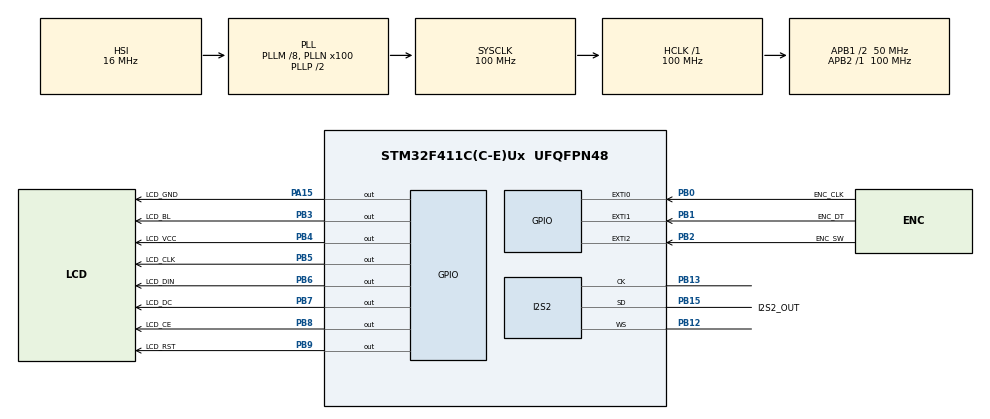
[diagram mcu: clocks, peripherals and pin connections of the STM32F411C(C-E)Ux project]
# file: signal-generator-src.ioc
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Dma.Request0=SPI2_TX
Dma.SPI2_TX.0.Direction=DMA_MEMORY_TO_PERIPH
Dma.SPI2_TX.0.FIFOMode=DMA_FIFOMODE_DISABLE
Dma.SPI2_TX.0.Instance=DMA1_Stream4
Dma.SPI2_TX.0.MemDataAlignment=DMA_MDATAALIGN_HALFWORD
Dma.SPI2_TX.0.MemInc=DMA_MINC_ENABLE
Dma.SPI2_TX.0.Mode=DMA_CIRCULAR
Dma.SPI2_TX.0.PeriphDataAlignment=DMA_PDATAALIGN_HALFWORD
Dma.SPI2_TX.0.PeriphInc=DMA_PINC_DISABLE
Dma.SPI2_TX.0.Priority=DMA_PRIORITY_LOW
I2S2.AudioFreq=I2S_AUDIOFREQ_44K
I2S2.DataFormat=I2S_DATAFORMAT_16B
I2S2.ErrorAudioFreq=0.03 %
I2S2.FullDuplexMode=I2S_FULLDUPLEXMODE_DISABLE
I2S2.Instance=SPI$Index
I2S2.RealAudioFreq=44.014 KHz
I2S2.VirtualMode=I2S_MODE_MASTER
Mcu.Family=STM32F4
Mcu.Name=STM32F411C(C-E)Ux
Mcu.Package=UFQFPN48
NVIC.DMA1_Stream4_IRQn=true\:1\:0\:true\:false\:true\:false\:true
NVIC.EXTI0_IRQn=true\:0\:0\:true\:false\:true\:true\:true
NVIC.EXTI1_IRQn=true\:0\:0\:true\:false\:true\:true\:true
NVIC.EXTI2_IRQn=true\:0\:0\:true\:false\:true\:true\:true
NVIC.PriorityGroup=NVIC_PRIORITYGROUP_4
PA15.GPIO_Label=LCD_GND
PA15.Signal=GPIO_Output
PB0.GPIO_Label=ENC_CLK
PB0.GPIO_ModeDefaultEXTI=GPIO_MODE_IT_RISING_FALLING
PB0.GPIO_PuPd=GPIO_PULLUP
PB0.Signal=GPXTI0
PB1.GPIO_Label=ENC_DT
PB1.GPIO_ModeDefaultEXTI=GPIO_MODE_IT_RISING_FALLING
PB1.GPIO_PuPd=GPIO_PULLUP
PB1.Signal=GPXTI1
PB12.Mode=Half_Duplex_Master
PB12.Signal=I2S2_WS
PB13.Mode=Half_Duplex_Master
PB13.Signal=I2S2_CK
PB15.GPIO_Label=I2S2_OUT
PB15.Mode=Half_Duplex_Master
PB15.Signal=I2S2_SD
PB2.GPIO_Label=ENC_SW
PB2.GPIO_ModeDefaultEXTI=GPIO_MODE_IT_FALLING
PB2.GPIO_PuPd=GPIO_PULLUP
PB2.Signal=GPXTI2
PB3.GPIO_Label=LCD_BL
PB3.Signal=GPIO_Output
PB4.GPIO_Label=LCD_VCC
PB4.Signal=GPIO_Output
PB5.GPIO_Label=LCD_CLK
PB5.Signal=GPIO_Output
PB6.GPIO_Label=LCD_DIN
PB6.Signal=GPIO_Output
PB7.GPIO_Label=LCD_DC
PB7.Signal=GPIO_Output
PB8.GPIO_Label=LCD_CE
PB8.Signal=GPIO_Output
PB9.GPIO_Label=LCD_RST
PB9.Signal=GPIO_Output
ProjectManager.HeapSize=0x200
ProjectManager.StackSize=0x400
ProjectManager.TargetToolchain=STM32CubeIDE
RCC.48MHZClocksFreq_Value=50000000
RCC.AHBFreq_Value=100000000
RCC.APB1CLKDivider=RCC_HCLK_DIV2
RCC.APB1Freq_Value=50000000
RCC.APB1TimFreq_Value=100000000
RCC.APB2Freq_Value=100000000
RCC.APB2TimFreq_Value=100000000
RCC.CortexFreq_Value=100000000
RCC.HCLKFreq_Value=100000000
RCC.HSE_VALUE=25000000
RCC.HSI_VALUE=16000000
RCC.LSE_VALUE=32768
RCC.PLLI2SN=200
RCC.PLLM=8
RCC.PLLN=100
RCC.SYSCLKFreq_VALUE=100000000
RCC.SYSCLKSource=RCC_SYSCLKSOURCE_PLLCLK
RCC.VCOOutputFreq_Value=200000000
board=custom

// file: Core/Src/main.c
/* USER CODE BEGIN Header */
/**
  ******************************************************************************
  * @file           : main.c
  * @brief          : Main program body
  ******************************************************************************
  * @attention
  *
  * <h2><center>&copy; Copyright (c) 2021 STMicroelectronics.
  * All rights reserved.</center></h2>
  *
  * This software component is licensed by ST under BSD 3-Clause license,
  * the "License"; You may not use this file except in compliance with the
  * License. You may obtain a copy of the License at:
  *                        opensource.org/licenses/BSD-3-Clause
  *
  ******************************************************************************
  */
/* USER CODE END Header */
#include "main.h"

/* USER CODE BEGIN Includes */
#include <math.h>
#include "nokia5110_LCD.h"
/* USER CODE END Includes */

I2S_HandleTypeDef hi2s2;
DMA_HandleTypeDef hdma_spi2_tx;

void SystemClock_Config(void);
static void MX_GPIO_Init(void);
static void MX_DMA_Init(void);
static void MX_I2S2_Init(void);
/* USER CODE BEGIN PFP */

void select_freq();
void select_amp();
void select_wave();
void select_harm();
double generate_wave_cycle();

/* USER CODE END PFP */

/* USER CODE BEGIN 0 */
#define PI 3.14159265358979323846
#define TAU (2.0 * PI)
#define AMPLITUDE_FACTOR 28500
#define DAC_FREQ 44000

#define TXBUFF_LEN 1024
uint16_t txbuff[TXBUFF_LEN];

int frequency = 1000;
int amplitude = 100;
int harmonics = 50;

#define WAVEFORM_SIN 0
#define WAVEFORM_SQUARE 1
#define WAVEFORM_TRIANGLE 2
#define WAVEFORM_SAW 3

int waveform = WAVEFORM_SIN;

typedef struct {
	void (*init)(void);
	void (*cw_rotation)(void);
	void (*ccw_rotation)(void);
	void (*push)(void);
	int selected;
} ui_state_t;

#define UI_SELECTED_FREQ 0
#define UI_SELECTED_AMP 1
#define UI_SELECTED_WAVE 2
#define UI_SELECTED_HARM 3

ui_state_t ui_global_state;

void update_ui()
{
	char freq_txt[20];
	char amp_txt[20];
	char wave_txt[20];
	char harm_txt[20];

	LCD_clrScr();

	//freq text
	if(frequency < 1000)
	{
		sprintf(freq_txt, " Freq: %dHz", frequency);
	}
	else
	{
		sprintf(freq_txt, " Freq: %dkHz", frequency/1000);
	}

	LCD_print(freq_txt, 0, 0);

	//Amp text
	sprintf(amp_txt, " Amp: %d%%", amplitude);
	LCD_print(amp_txt, 0, 1);

	//Wave text
	switch(waveform)
	{
	case WAVEFORM_SIN:
		sprintf(wave_txt, " Wave: SIN");
		break;
	case WAVEFORM_SQUARE:
		sprintf(wave_txt, " Wave: SQR");
		break;
	case WAVEFORM_TRIANGLE:
		sprintf(wave_txt, " Wave: TRI");
		break;
	case WAVEFORM_SAW:
		sprintf(wave_txt, " Wave: SAW");
		break;
	}

	LCD_print(wave_txt, 0, 2);

	//Harm text
	sprintf(harm_txt, " Harm: %d", harmonics);
	LCD_print(harm_txt, 0, 3);

	//Selection
	LCD_print("*", 0, ui_global_state.selected);
}

void freq_selected_init()
{
	update_ui();
}

void freq_selected_cw()
{
	if(frequency < 20000)
	{
		if(frequency < 1000)
		{
			frequency = (frequency/10)*10;
			frequency += 10;
		}
		else if(frequency >= 1000)
		{
			frequency = (frequency/1000)*1000;
			frequency += 1000;
		}
	}

	update_ui();
	generate_wave_cycle();
}

void freq_selected_ccw()
{
	if(frequency > 20)
	{
		if(frequency <= 1000)
		{
			frequency = (frequency/10)*10;
			frequency -= 10;
		}
		else if(frequency > 1000)
		{
			frequency = (frequency/1000)*1000;
			frequency -= 1000;
		}
	}

	update_ui();
	generate_wave_cycle();
}

void freq_selected_push()
{
	select_amp();
	ui_global_state.init();
}

void select_freq()
{
	ui_global_state.init = freq_selected_init;
	ui_global_state.cw_rotation = freq_selected_cw;
	ui_global_state.ccw_rotation = freq_selected_ccw;
	ui_global_state.push = freq_selected_push;
	ui_global_state.selected = UI_SELECTED_FREQ;
}

void amp_selected_init()
{
	update_ui();
}

void amp_selected_cw()
{
	if(amplitude < 100) amplitude += 1;
	update_ui();
	generate_wave_cycle();
}

void amp_selected_ccw()
{
	if(amplitude > 0) amplitude -= 1;
	update_ui();
	generate_wave_cycle();
}

void amp_selected_push()
{
	select_wave();
	ui_global_state.init();
}

void select_amp()
{
	ui_global_state.init = amp_selected_init;
	ui_global_state.cw_rotation = amp_selected_cw;
	ui_global_state.ccw_rotation = amp_selected_ccw;
	ui_global_state.push = amp_selected_push;
	ui_global_state.selected = UI_SELECTED_AMP;
}

void wave_selected_init()
{
	update_ui();
}

void wave_selected_cw()
{
	switch(waveform)
	{
	case WAVEFORM_SIN:
		waveform = WAVEFORM_SQUARE;
		break;
	case WAVEFORM_SQUARE:
		waveform = WAVEFORM_TRIANGLE;
		break;
	case WAVEFORM_TRIANGLE:
		waveform = WAVEFORM_SAW;
		break;
	case WAVEFORM_SAW:
		waveform = WAVEFORM_SIN;
		break;
	}
	update_ui();
	generate_wave_cycle();
}

void wave_selected_ccw()
{
	switch(waveform)
	{
		case WAVEFORM_SIN:
			waveform = WAVEFORM_SAW;
			break;
		case WAVEFORM_SQUARE:
			waveform = WAVEFORM_SIN;
			break;
		case WAVEFORM_TRIANGLE:
			waveform = WAVEFORM_SQUARE;
			break;
		case WAVEFORM_SAW:
			waveform = WAVEFORM_TRIANGLE;
			break;
	}
	update_ui();
	generate_wave_cycle();
}

void wave_selected_push()
{
	select_harm();
	ui_global_state.init();
}

void select_wave()
{
	ui_global_state.init = wave_selected_init;
	ui_global_state.cw_rotation = wave_selected_cw;
	ui_global_state.ccw_rotation = wave_selected_ccw;
	ui_global_state.push = wave_selected_push;
	ui_global_state.selected = UI_SELECTED_WAVE;
}

void harm_selected_init()
{
	update_ui();
}

void harm_selected_cw()
{
	if(harmonics < 100) harmonics += 1;
	update_ui();
	generate_wave_cycle();
}

void harm_selected_ccw()
{
	if(harmonics > 1) harmonics -= 1;
	update_ui();
	generate_wave_cycle();
}

void harm_selected_push()
{
	select_freq();
	ui_global_state.init();
}

void select_harm()
{
	ui_global_state.init = harm_selected_init;
	ui_global_state.cw_rotation = harm_selected_cw;
	ui_global_state.ccw_rotation = harm_selected_ccw;
	ui_global_state.push = harm_selected_push;
	ui_global_state.selected = UI_SELECTED_HARM;
}
/* USER CODE END 0 */

int main(void)
{

  /* MCU Configuration--------------------------------------------------------*/

  /* Reset of all peripherals, Initializes the Flash interface and the Systick. */
  HAL_Init();

  /* Configure the system clock */
  SystemClock_Config();

  /* Initialize all configured peripherals */
  MX_GPIO_Init();
  MX_DMA_Init();
  MX_I2S2_Init();
  /* USER CODE BEGIN 2 */

  //CONFIGURE LCD
  HAL_GPIO_WritePin(LCD_VCC_GPIO_Port, LCD_VCC_Pin, GPIO_PIN_SET);
  HAL_GPIO_WritePin(LCD_BL_GPIO_Port, LCD_BL_Pin, GPIO_PIN_SET);
  HAL_GPIO_WritePin(LCD_GND_GPIO_Port, LCD_GND_Pin, GPIO_PIN_RESET);

  LCD_setCE(LCD_CE_GPIO_Port, LCD_CE_Pin);
  LCD_setCLK(LCD_CLK_GPIO_Port, LCD_CLK_Pin);
  LCD_setDC(LCD_DC_GPIO_Port, LCD_DC_Pin);
  LCD_setDIN(LCD_DIN_GPIO_Port, LCD_DIN_Pin);
  LCD_setRST(LCD_RST_GPIO_Port, LCD_RST_Pin);
  LCD_init();

  LCD_print("SIGNAL", 0, 0);
  LCD_print("GENERATOR", 0, 1);
  LCD_print("By Filipe", 0, 3);
  LCD_print("Chagas", 0, 4);
  LCD_print("SEP/2021", 0, 5);
  HAL_Delay(3000);
  select_freq();
  ui_global_state.init();
  generate_wave_cycle();
  HAL_I2S_Transmit_DMA(&hi2s2, txbuff, 1024);
  /* USER CODE END 2 */

  /* Infinite loop */
  while (1)
  {

  }
}

void SystemClock_Config(void)
{
  RCC_OscInitTypeDef RCC_OscInitStruct = {0};
  RCC_ClkInitTypeDef RCC_ClkInitStruct = {0};
  RCC_PeriphCLKInitTypeDef PeriphClkInitStruct = {0};

  /** Configure the main internal regulator output voltage
  */
  __HAL_RCC_PWR_CLK_ENABLE();
  __HAL_PWR_VOLTAGESCALING_CONFIG(PWR_REGULATOR_VOLTAGE_SCALE1);
  /** Initializes the RCC Oscillators according to the specified parameters
  * in the RCC_OscInitTypeDef structure.
  */
  RCC_OscInitStruct.OscillatorType = RCC_OSCILLATORTYPE_HSI;
  RCC_OscInitStruct.HSIState = RCC_HSI_ON;
  RCC_OscInitStruct.HSICalibrationValue = RCC_HSICALIBRATION_DEFAULT;
  RCC_OscInitStruct.PLL.PLLState = RCC_PLL_ON;
  RCC_OscInitStruct.PLL.PLLSource = RCC_PLLSOURCE_HSI;
  RCC_OscInitStruct.PLL.PLLM = 8;
  RCC_OscInitStruct.PLL.PLLN = 100;
  RCC_OscInitStruct.PLL.PLLP = RCC_PLLP_DIV2;
  RCC_OscInitStruct.PLL.PLLQ = 4;
  if (HAL_RCC_OscConfig(&RCC_OscInitStruct) != HAL_OK)
  {
    Error_Handler();
  }
  /** Initializes the CPU, AHB and APB buses clocks
  */
  RCC_ClkInitStruct.ClockType = RCC_CLOCKTYPE_HCLK|RCC_CLOCKTYPE_SYSCLK
                              |RCC_CLOCKTYPE_PCLK1|RCC_CLOCKTYPE_PCLK2;
  RCC_ClkInitStruct.SYSCLKSource = RCC_SYSCLKSOURCE_PLLCLK;
  RCC_ClkInitStruct.AHBCLKDivider = RCC_SYSCLK_DIV1;
  RCC_ClkInitStruct.APB1CLKDivider = RCC_HCLK_DIV2;
  RCC_ClkInitStruct.APB2CLKDivider = RCC_HCLK_DIV1;

  if (HAL_RCC_ClockConfig(&RCC_ClkInitStruct, FLASH_LATENCY_3) != HAL_OK)
  {
    Error_Handler();
  }
  PeriphClkInitStruct.PeriphClockSelection = RCC_PERIPHCLK_I2S;
  PeriphClkInitStruct.PLLI2S.PLLI2SN = 200;
  PeriphClkInitStruct.PLLI2S.PLLI2SM = 16;
  PeriphClkInitStruct.PLLI2S.PLLI2SR = 2;
  if (HAL_RCCEx_PeriphCLKConfig(&PeriphClkInitStruct) != HAL_OK)
  {
    Error_Handler();
  }
}

static void MX_I2S2_Init(void)
{

  hi2s2.Instance = SPI2;
  hi2s2.Init.Mode = I2S_MODE_MASTER_TX;
  hi2s2.Init.Standard = I2S_STANDARD_PHILIPS;
  hi2s2.Init.DataFormat = I2S_DATAFORMAT_16B;
  hi2s2.Init.MCLKOutput = I2S_MCLKOUTPUT_DISABLE;
  hi2s2.Init.AudioFreq = I2S_AUDIOFREQ_44K;
  hi2s2.Init.CPOL = I2S_CPOL_LOW;
  hi2s2.Init.ClockSource = I2S_CLOCK_PLL;
  hi2s2.Init.FullDuplexMode = I2S_FULLDUPLEXMODE_DISABLE;
  if (HAL_I2S_Init(&hi2s2) != HAL_OK)
  {
    Error_Handler();
  }

}

static void MX_DMA_Init(void)
{

  /* DMA controller clock enable */
  __HAL_RCC_DMA1_CLK_ENABLE();

  /* DMA interrupt init */
  /* DMA1_Stream4_IRQn interrupt configuration */
  HAL_NVIC_SetPriority(DMA1_Stream4_IRQn, 1, 0);
  HAL_NVIC_EnableIRQ(DMA1_Stream4_IRQn);

}

static void MX_GPIO_Init(void)
{
  GPIO_InitTypeDef GPIO_InitStruct = {0};

  /* GPIO Ports Clock Enable */
  __HAL_RCC_GPIOB_CLK_ENABLE();
  __HAL_RCC_GPIOA_CLK_ENABLE();

  /*Configure GPIO pin Output Level */
  HAL_GPIO_WritePin(LCD_GND_GPIO_Port, LCD_GND_Pin, GPIO_PIN_RESET);

  /*Configure GPIO pin Output Level */
  HAL_GPIO_WritePin(GPIOB, LCD_BL_Pin|LCD_VCC_Pin|LCD_CLK_Pin|LCD_DIN_Pin
                          |LCD_DC_Pin|LCD_CE_Pin|LCD_RST_Pin, GPIO_PIN_RESET);

  /*Configure GPIO pins : ENC_CLK_Pin ENC_DT_Pin */
  GPIO_InitStruct.Pin = ENC_CLK_Pin|ENC_DT_Pin;
  GPIO_InitStruct.Mode = GPIO_MODE_IT_RISING_FALLING;
  GPIO_InitStruct.Pull = GPIO_PULLUP;
  HAL_GPIO_Init(GPIOB, &GPIO_InitStruct);

  /*Configure GPIO pin : ENC_SW_Pin */
  GPIO_InitStruct.Pin = ENC_SW_Pin;
  GPIO_InitStruct.Mode = GPIO_MODE_IT_FALLING;
  GPIO_InitStruct.Pull = GPIO_PULLUP;
  HAL_GPIO_Init(ENC_SW_GPIO_Port, &GPIO_InitStruct);

  /*Configure GPIO pin : LCD_GND_Pin */
  GPIO_InitStruct.Pin = LCD_GND_Pin;
  GPIO_InitStruct.Mode = GPIO_MODE_OUTPUT_PP;
  GPIO_InitStruct.Pull = GPIO_NOPULL;
  GPIO_InitStruct.Speed = GPIO_SPEED_FREQ_LOW;
  HAL_GPIO_Init(LCD_GND_GPIO_Port, &GPIO_InitStruct);

  /*Configure GPIO pins : LCD_BL_Pin LCD_VCC_Pin LCD_CLK_Pin LCD_DIN_Pin
                           LCD_DC_Pin LCD_CE_Pin LCD_RST_Pin */
  GPIO_InitStruct.Pin = LCD_BL_Pin|LCD_VCC_Pin|LCD_CLK_Pin|LCD_DIN_Pin
                          |LCD_DC_Pin|LCD_CE_Pin|LCD_RST_Pin;
  GPIO_InitStruct.Mode = GPIO_MODE_OUTPUT_PP;
  GPIO_InitStruct.Pull = GPIO_NOPULL;
  GPIO_InitStruct.Speed = GPIO_SPEED_FREQ_LOW;
  HAL_GPIO_Init(GPIOB, &GPIO_InitStruct);

  /* EXTI interrupt init*/
  HAL_NVIC_SetPriority(EXTI0_IRQn, 0, 0);
  HAL_NVIC_EnableIRQ(EXTI0_IRQn);

  HAL_NVIC_SetPriority(EXTI1_IRQn, 0, 0);
  HAL_NVIC_EnableIRQ(EXTI1_IRQn);

  HAL_NVIC_SetPriority(EXTI2_IRQn, 0, 0);
  HAL_NVIC_EnableIRQ(EXTI2_IRQn);

}

/* USER CODE BEGIN 4 */
int dt_state_array[2];
int clk_state_array[2];

void encoder_callback()
{
	dt_state_array[1] = !HAL_GPIO_ReadPin(ENC_DT_GPIO_Port, ENC_DT_Pin);
	clk_state_array[1] = !HAL_GPIO_ReadPin(ENC_CLK_GPIO_Port, ENC_CLK_Pin);

	/*   "For clockwise motion you can only perform the following actions:
		  (11 > 10), (10 > 00), (00 > 01) and (01 >11)
		  Similarly only the following encoder output transitions are valid for Anti-Clockwise rotation:
	      (01 > 00), (00 > 10), (10 > 11), and (11 > 01)"
	      Source: https://www.best-microcontroller-projects.com/rotary-encoder.html
	 */

	if((clk_state_array[0] == 1 && dt_state_array[0] == 1 && clk_state_array[1] == 1 && dt_state_array[1] == 0) ||
		//(clk_state_array[0] == 1 && dt_state_array[0] == 0 && clk_state_array[1] == 0 && dt_state_array[1] == 0) ||
		//(clk_state_array[0] == 0 && dt_state_array[0] == 0 && clk_state_array[1] == 1 && dt_state_array[1] == 0) ||
		//(clk_state_array[0] == 0 && dt_state_array[0] == 1 && clk_state_array[1] == 1 && dt_state_array[1] == 1) ||
		0)
	{
		ui_global_state.ccw_rotation();
	}

	if((clk_state_array[0] == 0 && dt_state_array[0] == 1 && clk_state_array[1] == 0 && dt_state_array[1] == 0) ||
		//(clk_state_array[0] == 0 && dt_state_array[0] == 0 && clk_state_array[1] == 1 && dt_state_array[1] == 0) ||
		//(clk_state_array[0] == 1 && dt_state_array[0] == 0 && clk_state_array[1] == 1 && dt_state_array[1] == 1) ||
		//(clk_state_array[0] == 1 && dt_state_array[0] == 1 && clk_state_array[1] == 0 && dt_state_array[1] == 1) ||
		0)
	{
		ui_global_state.cw_rotation();
	}

	dt_state_array[0] = dt_state_array[1];
	clk_state_array[0] = clk_state_array[1];
}

void switch_callback()
{
	int new_enc_sw_state = !HAL_GPIO_ReadPin(ENC_SW_GPIO_Port, ENC_SW_Pin);
	int new_enc_dt_state = !HAL_GPIO_ReadPin(ENC_DT_GPIO_Port, ENC_DT_Pin);
	int new_enc_clk_state = !HAL_GPIO_ReadPin(ENC_CLK_GPIO_Port, ENC_CLK_Pin);

	if(new_enc_clk_state == 0 && new_enc_dt_state == 0 && new_enc_sw_state == 1)
		ui_global_state.push();
}

double square_wave(double x)
{
	double y = 0;
	for(int k = 1; k <= harmonics; k++)
	{
		y += ((double)4/PI)*(sin(x*(2*k-1))/(2*k-1));
	}
	return y;
}

double triangle_wave(double x)
{
	double y = 0;
	for(int k = 1; k <= harmonics; k++)
	{
		y += ((double)8/(PI*PI))*sin((double)(k*PI)/2)*(sin(k*x)/(k*k));
	}
	return y;
}

double saw_wave(double x)
{
	double y = 0;
	for(int k = 1; k <= harmonics; k++)
	{
		y += ((double)2/PI)*(k % 2 == 0 ? 1 : -1)*(sin(k*x)/k);
	}
	return y;
}

double t_step = (double)1/(double)DAC_FREQ;
uint16_t cycle_buff[TXBUFF_LEN/2];
int cycle_len = 0;
int cycle_buff_lock = 0;

double generate_wave_cycle()
{
	cycle_buff_lock = 1;

	double t = 0;
	double (*wf)(double);
	switch(waveform)
	{
	case WAVEFORM_SIN:
		wf = sin;
		break;
	case WAVEFORM_SQUARE:
		wf = square_wave;
		break;
	case WAVEFORM_TRIANGLE:
		wf = triangle_wave;
		break;
	case WAVEFORM_SAW:
		wf = saw_wave;
		break;
	}

	double A = (double)amplitude/100;
	int i = 0;
	while(t <= (double)1/frequency)
	{
		cycle_buff[i] = (int)(AMPLITUDE_FACTOR*((A*wf(frequency*TAU*t)+A)/2));
		i += 1;
		t += t_step;
	}

	cycle_len = i-1;
	cycle_buff_lock = 0;
}

int j = 0;

/*
void HAL_I2S_TxHalfCpltCallback(I2S_HandleTypeDef *hi2s)
{
	if(cycle_buff_lock == 0)
	{
		for(int i = 0; i < TXBUFF_LEN/2; i+=2)
		{
			txbuff[i] = cycle_buff[j % cycle_len];
			txbuff[i+1] = txbuff[i];
			j += 1;
		}
	}
}
*/

void HAL_I2S_TxCpltCallback(I2S_HandleTypeDef *hi2s)
{
	if(cycle_buff_lock == 0)
	{
		for(int i = 0; i < TXBUFF_LEN; i+=2)
		{
			txbuff[i] = cycle_buff[j % cycle_len];
			txbuff[i+1] = txbuff[i];
			j += 1;
		}
	}
}

/* USER CODE END 4 */

void Error_Handler(void)
{
  __disable_irq();
  while (1)
  {
  }
}

/************************ (C) COPYRIGHT STMicroelectronics *****END OF FILE****/
